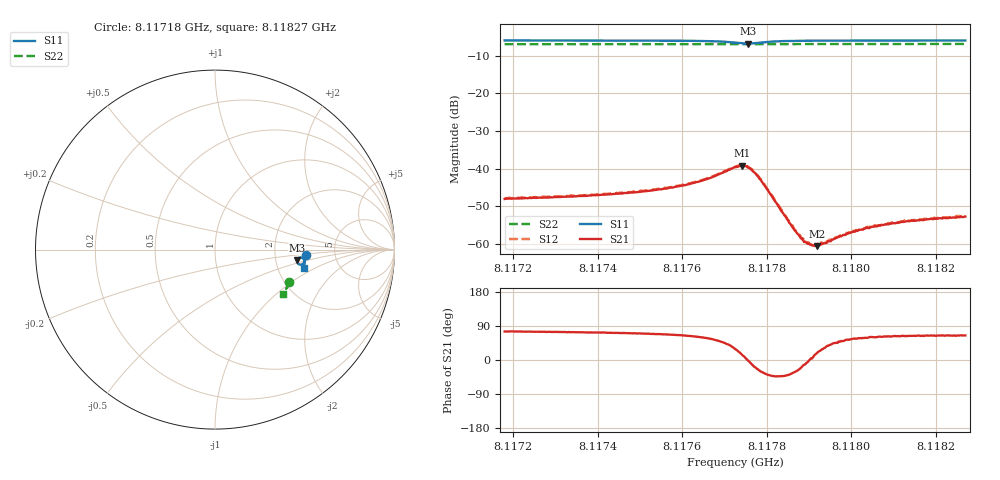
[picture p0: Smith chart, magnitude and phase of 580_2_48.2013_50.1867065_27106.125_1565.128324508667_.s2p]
#  HZ  S  RI  R  50.00
! Rohde & Schwarz Vector Network Analyzer
! Rohde-Schwarz,ZNB20-2Port,1311601062101988,3.16
! Created: UTC 3/20/2024, 12:02:03 PM
! freq[Hz]  re:S11  im:S11  re:S21  im:S21  re:S12  im:S12  re:S22  im:S22
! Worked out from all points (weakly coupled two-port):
!   401 points, 8.11718 GHz to 8.11827 GHz, reference 50 ohm
!   highest |S21| = -39.22 dB at 8.117741 GHz (marker M1); lowest = -60.6 dB at 8.117918 GHz (marker M2)
!   lowest |S11| = -6.7 dB at 8.117755 GHz (marker M3), VSWR 2.70, Z = 132 - j20.2 ohm
!   |S11| at or under -10 dB: nowhere
!   |S22| runs from -6.9 to -6.8 dB; largest |S21 - S12| = 0.00039
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8.1171796e9  0.5059 -0.0292  0.00102 0.00383  0.00109 0.00394  0.4144 -0.1804
8.1173622e9  0.5041 -0.0443  0.00127 0.00415  0.00134 0.0042  0.4097 -0.1922
8.1174768e9  0.5022 -0.0549  0.0016 0.00455  0.00163 0.00463  0.4063 -0.1995
8.1175449e9  0.5004 -0.0619  0.00197 0.00492  0.00202 0.00501  0.4043 -0.2041
8.1176049e9  0.4977 -0.0694  0.00258 0.00546  0.00266 0.00555  0.4025 -0.208
8.1176485e9  0.4931 -0.0759  0.00354 0.00602  0.00367 0.00613  0.4009 -0.2108
8.1177249e9  0.4668 -0.0816  0.00914 0.00509  0.00924 0.0052  0.3975 -0.2152
8.1177412e9  0.4579 -0.0728  0.0106 0.00275  0.0108 0.00286  0.3969 -0.2158
8.1177549e9  0.4561 -0.0606  0.0104 -9.34e-05  0.0108 -0.000189  0.3964 -0.2159
8.1177685e9  0.4617 -0.0497  0.00877 -0.00249  0.00915 -0.00255  0.3963 -0.2164
8.1177848e9  0.4728 -0.044  0.00625 -0.00355  0.00642 -0.00362  0.3963 -0.2172
8.1178612e9  0.4964 -0.0578  0.00136 -0.000948  0.00143 -0.00102  0.395 -0.2227
8.1178748e9  0.4973 -0.0604  0.0012 -0.000585  0.00124 -0.000634  0.3947 -0.2235
8.1178857e9  0.498 -0.0623  0.00109 -0.000285  0.00113 -0.000374  0.3944 -0.2244
8.1178912e9  0.4981 -0.0633  0.00105 -0.000214  0.00107 -0.000187  0.3942 -0.2245
8.1179075e9  0.4986 -0.0658  0.000954 6.89e-05  0.000956 0.00015  0.3935 -0.2258
8.1179184e9  0.4988 -0.0673  0.000889 0.000288  0.000943 0.000288  0.3932 -0.2266
8.1180057e9  0.4989 -0.0778  0.000817 0.00123  0.000865 0.00122  0.3904 -0.2322
8.118052e9  0.4985 -0.0826  0.000852 0.00149  0.00087 0.00152  0.3888 -0.235
8.1180902e9  0.498 -0.0861  0.000862 0.00163  0.000909 0.00161  0.3875 -0.2374
8.1181829e9  0.4968 -0.094  0.000925 0.00192  0.000926 0.00196  0.3842 -0.2432
8.1182701e9  0.4955 -0.1013  0.000984 0.00209  0.00103 0.00213  0.3812 -0.2484
